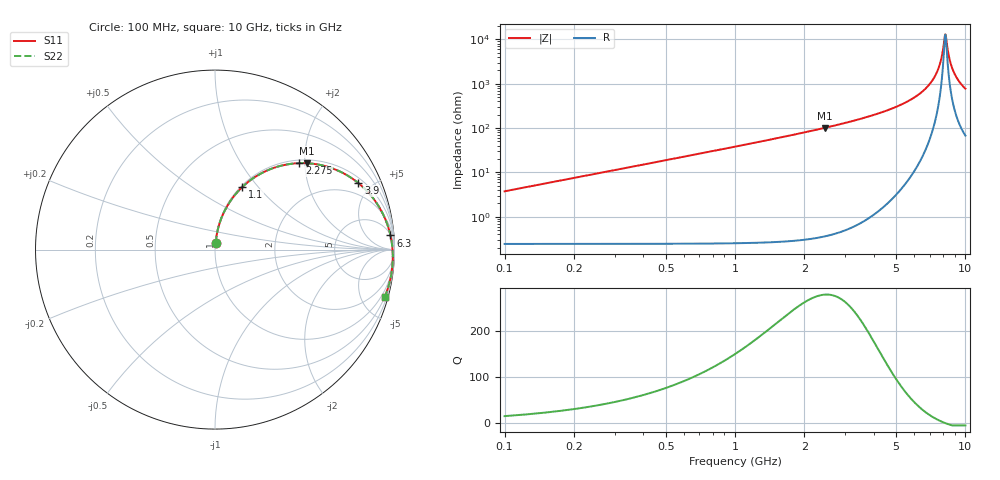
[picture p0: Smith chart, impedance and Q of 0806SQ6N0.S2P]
! Coilcraft 0806SQ-6N0 Air Core Inductor
! 04 March 2008
# MHZ S MA R 50
!Freq  MagS11  AngS11  MagS21  AngS21  MagS12  AngS12  MagS22  AngS22
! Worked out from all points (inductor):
!   397 points, 100 MHz to 10 GHz, reference 50 ohm
!   read as one part in series: L = 5.98 nH near 125 MHz
!   highest Q = 280 at 2.45 GHz (marker M1), where L = 6.57 nH
!   self-resonance near 8.175 GHz
!   S11 on the Smith chart (normalised r, x): 100 MHz: 1.00, +0.07; 1.1 GHz: 1.02, +0.83; 2.275 GHz: 1.07, +1.87; 3.9 GHz: 1.26, +4.16; 6.3 GHz: 6, +23; 10 GHz: 0.50, -7.22
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100  0.03685 84.0  0.9969 -2.2  0.9969 -2.2  0.03686 84.0
225  0.08259 83.4  0.9941 -4.9  0.9941 -4.9  0.08261 83.4
425  0.1549 79.9  0.9855 -9.2  0.9855 -9.2  0.1549 79.9
700  0.2512 74.4  0.9655 -15.1  0.9655 -15.1  0.2512 74.4
1100  0.3812 66.4  0.9221 -23.3  0.9221 -23.3  0.3812 66.4
1750  0.5596 54.4  0.8264 -35.4  0.8264 -35.4  0.5597 54.4
2275  0.6723 45.8  0.7377 -44.0  0.7377 -44.0  0.6725 45.8
2450  0.7041 43.1  0.7075 -46.7  0.7075 -46.7  0.7042 43.1
3400  0.8343 30.5  0.5476 -59.2  0.5476 -59.2  0.8344 30.5
3900  0.8802 24.9  0.4697 -64.8  0.4697 -64.8  0.8803 24.9
5050  0.9469 14.1  0.3112 -75.3  0.3112 -75.3  0.947 14.1
6300  0.9807 4.6  0.169 -83.7  0.169 -83.7  0.9809 4.6
6700  0.9862 2.0  0.1291 -85.7  0.1291 -85.7  0.9864 2.0
7250  0.9907 -1.5  0.07821 -87.0  0.07821 -87.0  0.9909 -1.5
7650  0.9922 -3.8  0.04391 -85.0  0.04391 -85.0  0.9924 -3.8
7900  0.9925 -5.2  0.02388 -77.8  0.02388 -77.8  0.9927 -5.2
8175  0.9923 -6.7  0.007664 -13.9  0.007664 -13.9  0.9925 -6.7
8225  0.9922 -7.0  0.008221 13.8  0.008221 13.8  0.9924 -7.0
8350  0.9919 -7.7  0.01477 50.0  0.01477 50.0  0.9921 -7.7
8575  0.9912 -8.8  0.03044 65.4  0.03044 65.4  0.9914 -8.8
8900  0.9897 -10.5  0.05339 70.0  0.05339 70.0  0.9898 -10.5
10000  0.9813 -15.7  0.1249 69.3  0.1249 69.3  0.9815 -15.7
